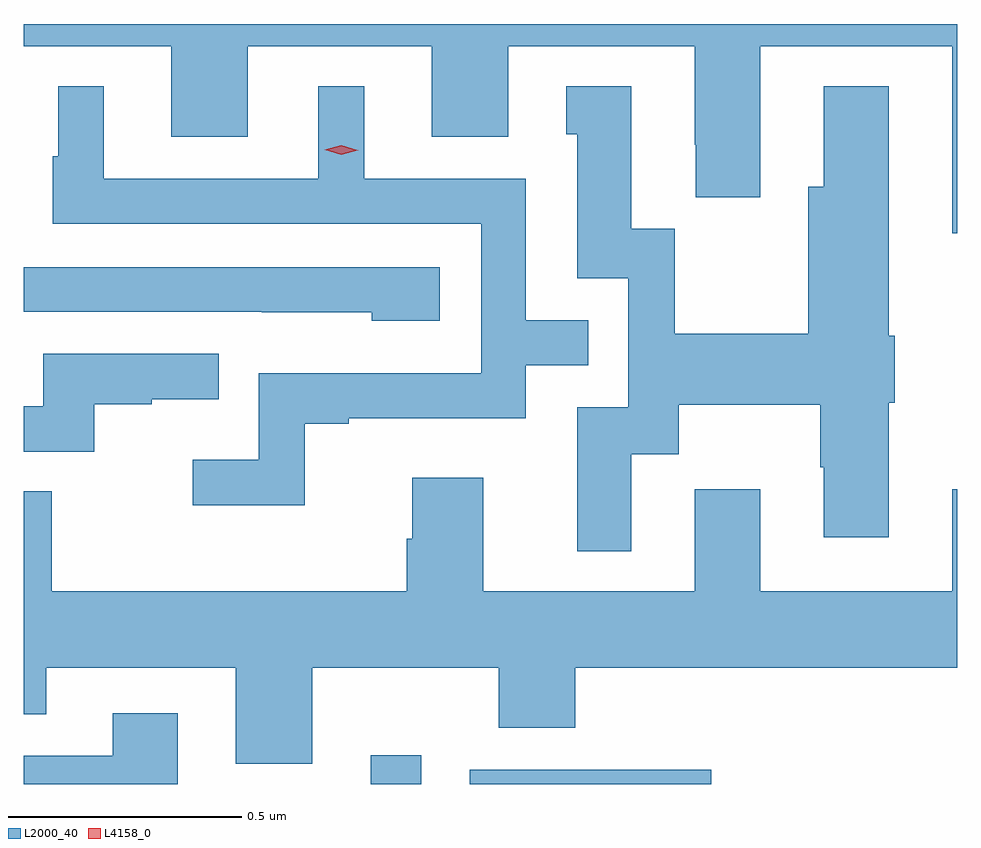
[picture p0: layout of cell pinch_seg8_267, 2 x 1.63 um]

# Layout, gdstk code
import gdstk
lib = gdstk.Library(unit=1e-6, precision=1e-09)
def R(c, l, rs):  # rectangles x0, y0, x1, y1
    for r in rs: c.add(gdstk.rectangle(r[:2], r[2:], *l))
def P(c, l, *ps):  # polygons
    for p in ps: c.add(gdstk.Polygon(p, *l))
L2000_40 = (2000, 40)
L4158_0 = (4158, 0)

pinch_seg8_267 = lib.new_cell('pinch_seg8_267')
R(pinch_seg8_267, L2000_40, [(578.778,1162.871,578.887,1162.933), (578.991,1162.871,579.508,1162.902)])
P(pinch_seg8_267, L2000_40, [(580.035,1164.5),(578.035,1164.5),(578.035,1164.452),(578.351,1164.452),(578.351,1164.258),(578.515,1164.258),(578.515,1164.452),(578.909,1164.452),(578.909,1164.258),(579.073,1164.258),(579.073,1164.452),(579.473,1164.452),(579.473,1164.241),(579.475,1164.241),(579.475,1164.129),(579.613,1164.129),(579.613,1164.452),(580.025,1164.452),(580.025,1164.051),(580.035,1164.051)],
  [(579.337,1163.578),(579.439,1163.578),(579.439,1163.684),(579.742,1163.684),(579.742,1163.55),(579.749,1163.55),(579.749,1163.4),(579.889,1163.4),(579.889,1163.688),(579.902,1163.688),(579.902,1163.832),(579.889,1163.832),(579.889,1164.367),(579.749,1164.367),(579.749,1164.151),(579.716,1164.151),(579.716,1163.836),(579.43,1163.836),(579.43,1164.061),(579.337,1164.061),(579.337,1164.367),(579.197,1164.367),(579.197,1164.264),(579.221,1164.264),(579.221,1163.955),(579.33,1163.955),(579.33,1163.679),(579.221,1163.679),(579.221,1163.37),(579.337,1163.37)],
  [(578.637,1163.643),(578.731,1163.643),(578.731,1163.655),(579.111,1163.655),(579.111,1163.769),(579.245,1163.769),(579.245,1163.865),(579.111,1163.865),(579.111,1164.168),(578.764,1164.168),(578.764,1164.367),(578.666,1164.367),(578.666,1164.168),(578.206,1164.168),(578.206,1164.367),(578.108,1164.367),(578.108,1164.216),(578.097,1164.216),(578.097,1164.072),(579.015,1164.072),(579.015,1163.751),(578.538,1163.751),(578.538,1163.566),(578.397,1163.566),(578.397,1163.468),(578.637,1163.468)],
  [(578.926,1163.979),(578.035,1163.979),(578.035,1163.883),(578.545,1163.883),(578.545,1163.882),(578.781,1163.882),(578.781,1163.864),(578.926,1163.864)],
  [(578.186,1163.685),(578.309,1163.685),(578.309,1163.696),(578.453,1163.696),(578.453,1163.793),(578.076,1163.793),(578.076,1163.681),(578.035,1163.681),(578.035,1163.583),(578.186,1163.583)],
  [(578.035,1163.498),(578.035,1163.021),(578.083,1163.021),(578.083,1163.12),(578.489,1163.12),(578.489,1162.914),(578.653,1162.914),(578.653,1163.12),(579.053,1163.12),(579.053,1162.992),(579.217,1162.992),(579.217,1163.12),(580.035,1163.12),(580.035,1163.503),(580.025,1163.503),(580.025,1163.284),(579.613,1163.284),(579.613,1163.503),(579.473,1163.503),(579.473,1163.284),(579.019,1163.284),(579.019,1163.527),(578.867,1163.527),(578.867,1163.397),(578.855,1163.397),(578.855,1163.284),(578.095,1163.284),(578.095,1163.498)],
  [(578.365,1163.023),(578.225,1163.023),(578.225,1162.932),(578.035,1162.932),(578.035,1162.871),(578.365,1162.871)])
P(pinch_seg8_267, L4158_0, [(578.715,1164.22),(578.68,1164.231),(578.679,1164.231),(578.68,1164.231),(578.715,1164.24),(578.75,1164.229),(578.751,1164.229),(578.75,1164.229)])

lib.write_gds('pinch_seg8_267.gds')
